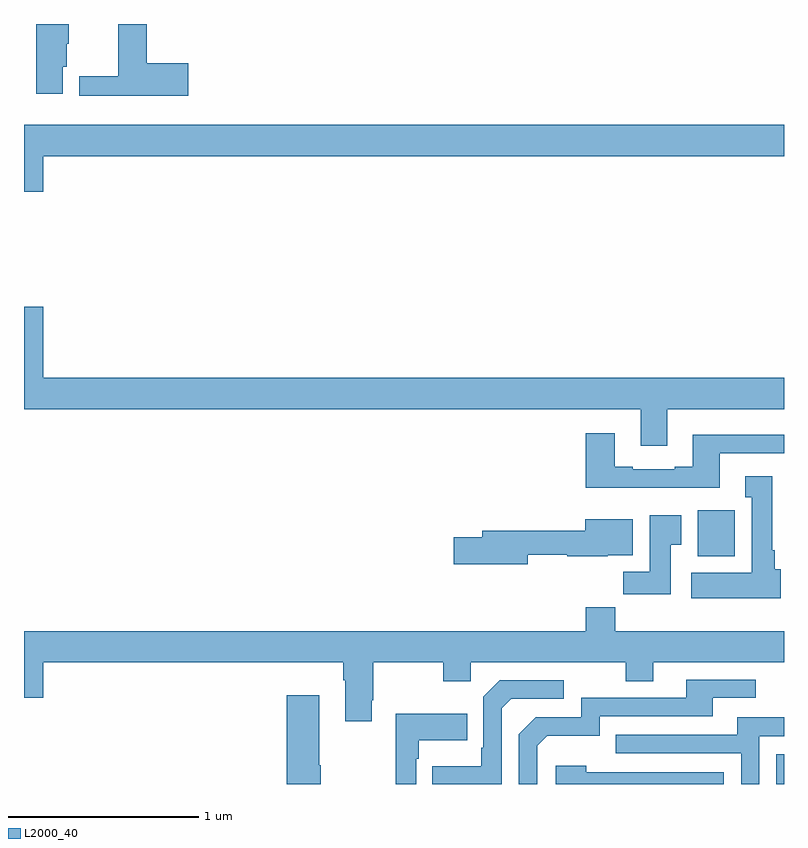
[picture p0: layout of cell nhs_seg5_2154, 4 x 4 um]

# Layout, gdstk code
import gdstk
lib = gdstk.Library(unit=1e-6, precision=1e-09)
def R(c, l, rs):  # rectangles x0, y0, x1, y1
    for r in rs: c.add(gdstk.rectangle(r[:2], r[2:], *l))
def P(c, l, *ps):  # polygons
    for p in ps: c.add(gdstk.Polygon(p, *l))
L2000_40 = (2000, 40)

nhs_seg5_2154 = lib.new_cell('nhs_seg5_2154')
R(nhs_seg5_2154, L2000_40, [(240.96,842.799,241,842.956), (240.545,843.998,240.742,844.24)])
P(nhs_seg5_2154, L2000_40, [(237.865,846.593),(237.647,846.593),(237.647,846.799),(237.496,846.799),(237.496,846.524),(237.291,846.524),(237.291,846.422),(237.865,846.422)],
  [(237.205,846.573),(237.226,846.573),(237.226,846.696),(237.235,846.696),(237.235,846.799),(237.065,846.799),(237.065,846.432),(237.205,846.432)],
  [(237.1,846.104),(241,846.104),(241,846.268),(237,846.268),(237,845.916),(237.1,845.916)],
  [(240.385,844.772),(241,844.772),(241,844.936),(237.1,844.936),(237.1,845.311),(237,845.311),(237,844.772),(240.245,844.772),(240.245,844.578),(240.385,844.578)],
  [(240.661,844.539),(241,844.539),(241,844.636),(240.521,844.636),(240.521,844.468),(240.425,844.468),(240.425,844.455),(240.205,844.455),(240.205,844.468),(240.109,844.468),(240.109,844.645),(239.957,844.645),(239.957,844.358),(240.661,844.358)],
  [(240.982,843.93),(240.952,843.93),(240.952,844.03),(240.937,844.03),(240.937,844.42),(240.797,844.42),(240.797,844.307),(240.83,844.307),(240.83,843.91),(240.513,843.91),(240.513,843.776),(240.982,843.776)],
  [(240.403,844.057),(240.46,844.057),(240.46,844.213),(240.293,844.213),(240.293,843.916),(240.154,843.916),(240.154,843.798),(240.403,843.798)],
  [(239.65,844.005),(239.858,844.005),(239.858,843.998),(240.072,843.998),(240.072,844.004),(240.205,844.004),(240.205,844.192),(239.954,844.192),(239.954,844.133),(239.411,844.133),(239.411,844.097),(239.262,844.097),(239.262,843.955),(239.65,843.955)],
  [(238.831,843.241),(238.839,843.241),(238.839,843.44),(239.206,843.44),(239.206,843.341),(239.352,843.341),(239.352,843.44),(240.166,843.44),(240.166,843.341),(240.313,843.341),(240.313,843.44),(241,843.44),(241,843.604),(240.113,843.604),(240.113,843.728),(239.957,843.728),(239.957,843.604),(237,843.604),(237,843.252),(237.1,843.252),(237.1,843.44),(238.679,843.44),(238.679,843.344),(238.691,843.344),(238.691,843.129),(238.831,843.129)],
  [(239.7,843),(239.753,843.053),(240.03,843.053),(240.03,843.156),(240.625,843.156),(240.625,843.252),(240.85,843.252),(240.85,843.348),(240.485,843.348),(240.485,843.252),(239.934,843.252),(239.934,843.15),(239.694,843.15),(239.604,843.06),(239.604,842.799),(239.7,842.799)],
  [(239.514,843.198),(239.565,843.249),(239.842,843.249),(239.842,843.345),(239.505,843.345),(239.418,843.258),(239.418,842.989),(239.406,842.989),(239.406,842.893),(239.149,842.893),(239.149,842.799),(239.514,842.799)],
  [(238.563,842.899),(238.555,842.899),(238.555,843.265),(238.382,843.265),(238.382,842.799),(238.563,842.799)],
  [(239.064,842.933),(239.077,842.933),(239.077,843.029),(239.333,843.029),(239.333,843.169),(238.956,843.169),(238.956,842.799),(239.064,842.799)],
  [(240.87,843.051),(241,843.051),(241,843.151),(240.755,843.151),(240.755,843.057),(240.115,843.057),(240.115,842.961),(240.774,842.961),(240.774,842.799),(240.87,842.799)],
  [(240.684,842.862),(239.96,842.862),(239.96,842.896),(239.799,842.896),(239.799,842.799),(240.684,842.799)])

lib.write_gds('nhs_seg5_2154.gds')
